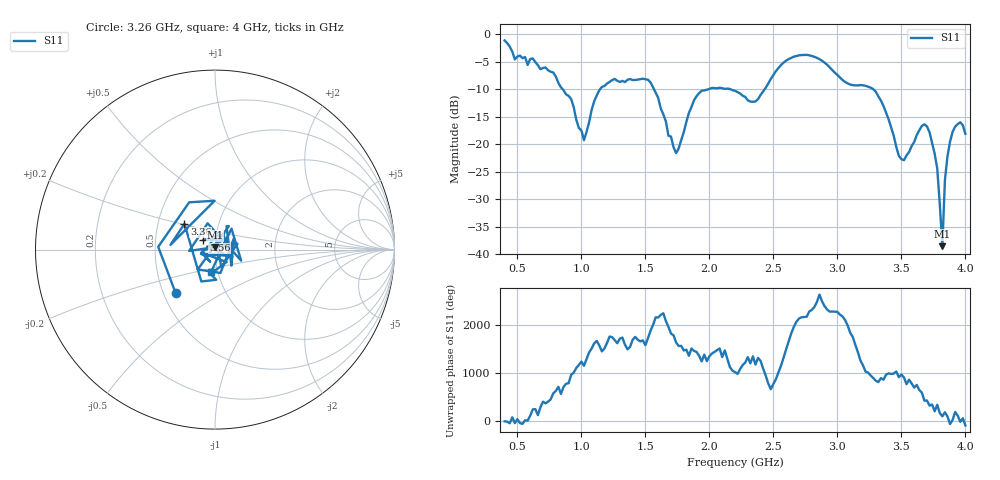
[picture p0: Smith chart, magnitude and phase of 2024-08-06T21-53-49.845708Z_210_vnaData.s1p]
!Created with skrf (http://scikit-rf.org).
# Hz S RI R 50.0
!freq ReS11 ImS11
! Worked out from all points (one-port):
!   181 points, 400 MHz to 4 GHz, reference 50 ohm
!   lowest |S11| = -38.6 dB at 3.82 GHz (marker M1), VSWR 1.02, Z = 49.9 + j1.18 ohm
!   |S11| at or under -10 dB: 853.5 MHz to 1.146 GHz (292.5 MHz wide, 29.3 % of centre); 1.567 GHz to 1.992 GHz (425 MHz wide, 23.9 % of centre); 3.281 GHz to end of sweep (the widest 3 of 4)
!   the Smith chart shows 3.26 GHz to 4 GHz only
!   S11 on the Smith chart (normalised r, x): 3.26 GHz: 0.58, -0.31; 3.36 GHz: 0.68, +0.21; 3.56 GHz: 0.87, +0.09; 4 GHz: 0.93, -0.23
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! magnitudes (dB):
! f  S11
! 400 MHz  -1.1
! 480 MHz  -4.6
! 620 MHz  -4.4
! 860 MHz  -10.2
! 1.02 GHz  -19.3
! 1.14 GHz  -10.2
! 1.3 GHz  -8.7
! 1.54 GHz  -8.8
! 1.68 GHz  -18.5
! 1.76 GHz  -20.8
! 1.92 GHz  -10.7
! 2.2 GHz  -10.3
! 2.36 GHz  -12.2
! 2.66 GHz  -4.1
! 2.86 GHz  -4.5
! 3.1 GHz  -9.1
! 3.26 GHz  -9.7
! 3.36 GHz  -13.0
! 3.48 GHz  -22.1
! 3.56 GHz  -21.4
! 3.66 GHz  -16.7
! 3.72 GHz  -17.9
! 3.78 GHz  -24.4
! 3.82 GHz  -38.6
! 3.84 GHz  -26.6
! 3.88 GHz  -19.6
! 3.96 GHz  -16.0
! 4 GHz  -18.1
